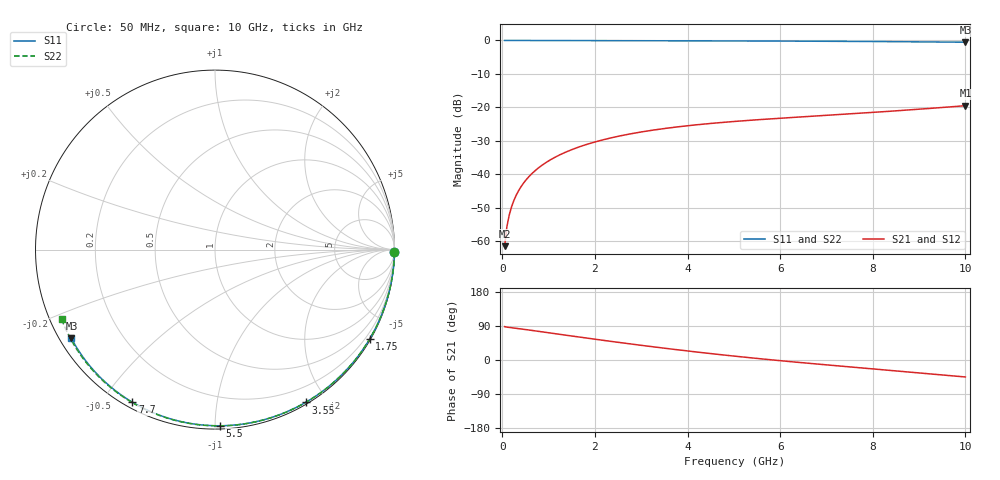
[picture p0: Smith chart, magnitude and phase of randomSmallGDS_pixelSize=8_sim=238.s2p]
! freq	dB(S11)	phase(S11)	dB(S12)	phase(S12)
!  dB(S21)	phase(S21)	dB(S22)	phase(S22)
!S-par simulation data
#  GHz  S  DB  R 50
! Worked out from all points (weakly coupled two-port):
!   200 points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, 50 MHz to 10 GHz, reference 50 ohm
!   highest |S21| = -19.53 dB at 10 GHz (marker M1); lowest = -61.6 dB at 50 MHz (marker M2)
!   lowest |S11| = -0.5 dB at 10 GHz (marker M3), VSWR 32.61, Z = 1.66 - j14.2 ohm
!   |S11| at or under -10 dB: nowhere
!   |S22| runs from -0.6 to 0.0 dB; largest |S21 - S12| = 0
!   S11 on the Smith chart (normalised r, x): 50 MHz: open; 1.75 GHz: 0.04, -3.72; 3.55 GHz: 0.02, -1.76; 5.5 GHz: 0.02, -1.03; 7.7 GHz: 0.02, -0.60; 10 GHz: 0.03, -0.28
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0.05  -0.00 -0.9  -61.57 88.0  -61.57 88.0  -0.00 -0.9
0.1  -0.00 -1.8  -55.67 86.8  -55.67 86.8  -0.00 -1.8
0.15  -0.00 -2.6  -52.24 85.9  -52.24 85.9  -0.00 -2.8
0.2  -0.00 -3.5  -49.79 85.1  -49.79 85.1  -0.00 -3.7
0.25  -0.00 -4.4  -47.89 84.4  -47.89 84.4  -0.00 -4.6
0.35  -0.00 -6.1  -45.02 82.8  -45.02 82.8  -0.00 -6.4
0.5  -0.01 -8.7  -41.96 80.4  -41.96 80.4  -0.01 -9.2
0.7  -0.01 -12.2  -39.07 77.0  -39.07 77.0  -0.01 -12.8
1  -0.02 -17.4  -36.05 71.9  -36.05 71.9  -0.02 -18.2
1.35  -0.03 -23.3  -33.54 65.9  -33.54 65.9  -0.03 -24.5
1.75  -0.04 -30.1  -31.43 59.1  -31.43 59.1  -0.04 -31.6
2.5  -0.06 -42.5  -28.69 46.7  -28.69 46.7  -0.06 -44.7
3.4  -0.08 -57.0  -26.55 32.6  -26.55 32.6  -0.09 -59.8
3.55  -0.09 -59.3  -26.27 30.4  -26.27 30.4  -0.09 -62.3
4.3  -0.11 -70.9  -25.10 19.7  -25.10 19.7  -0.12 -74.3
5.05  -0.14 -82.0  -24.20 9.7  -24.20 9.7  -0.15 -85.9
5.5  -0.16 -88.4  -23.74 4.1  -23.74 4.1  -0.17 -92.7
6.7  -0.22 -105.1  -22.68 -9.6  -22.68 -9.6  -0.23 -110.0
7.7  -0.29 -118.4  -21.81 -20.2  -21.81 -20.2  -0.30 -124.0
8.35  -0.35 -126.9  -21.21 -26.9  -21.21 -26.9  -0.36 -132.9
9.2  -0.43 -137.9  -20.37 -35.9  -20.37 -35.9  -0.45 -144.6
10  -0.53 -148.3  -19.53 -44.8  -19.53 -44.8  -0.55 -155.7
